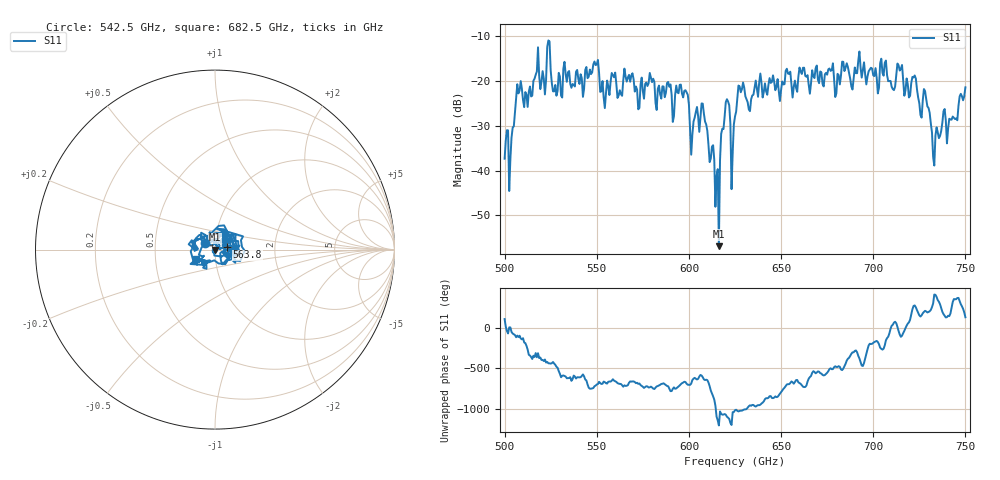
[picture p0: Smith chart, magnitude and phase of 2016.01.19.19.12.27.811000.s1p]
!Created with skrf (http://scikit-rf.org).
# GHz S RI R 50.0
!freq ReS11 ImS11
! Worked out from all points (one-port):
!   401 points, 500 GHz to 750 GHz, reference 50 ohm
!   lowest |S11| = -56.9 dB at 616.2 GHz (marker M1), VSWR 1.00, Z = 49.9 - j0.114 ohm
!   |S11| at or under -10 dB: start of sweep to end of sweep
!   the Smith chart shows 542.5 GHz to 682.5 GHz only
!   S11 on the Smith chart (normalised r, x): 542.5 GHz: 0.89, +0.07; 563.8 GHz: 1.14, +0.03; 682.5 GHz: 0.81, -0.08
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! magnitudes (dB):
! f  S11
! 500 GHz  -37.3
! 503.8 GHz  -32.6
! 508.1 GHz  -22.1
! 523.8 GHz  -10.9
! 526.9 GHz  -22.3
! 531.2 GHz  -23.7
! 542.5 GHz  -23.5
! 549.4 GHz  -16.4
! 553.1 GHz  -20.0
! 562.5 GHz  -22.0
! 563.8 GHz  -23.3
! 593.8 GHz  -22.5
! 601.9 GHz  -31.9
! 608.1 GHz  -27.3
! 615 GHz  -41.2
! 616.2 GHz  -56.9
! 620.6 GHz  -24.0
! 623.1 GHz  -44.1
! 625 GHz  -27.9
! 628.1 GHz  -22.5
! 656.2 GHz  -23.7
! 682.5 GHz  -18.7
! 687.5 GHz  -19.4
! 714.4 GHz  -17.6
! 718.8 GHz  -20.7
! 728.8 GHz  -24.0
! 733.1 GHz  -38.8
! 750 GHz  -21.4
